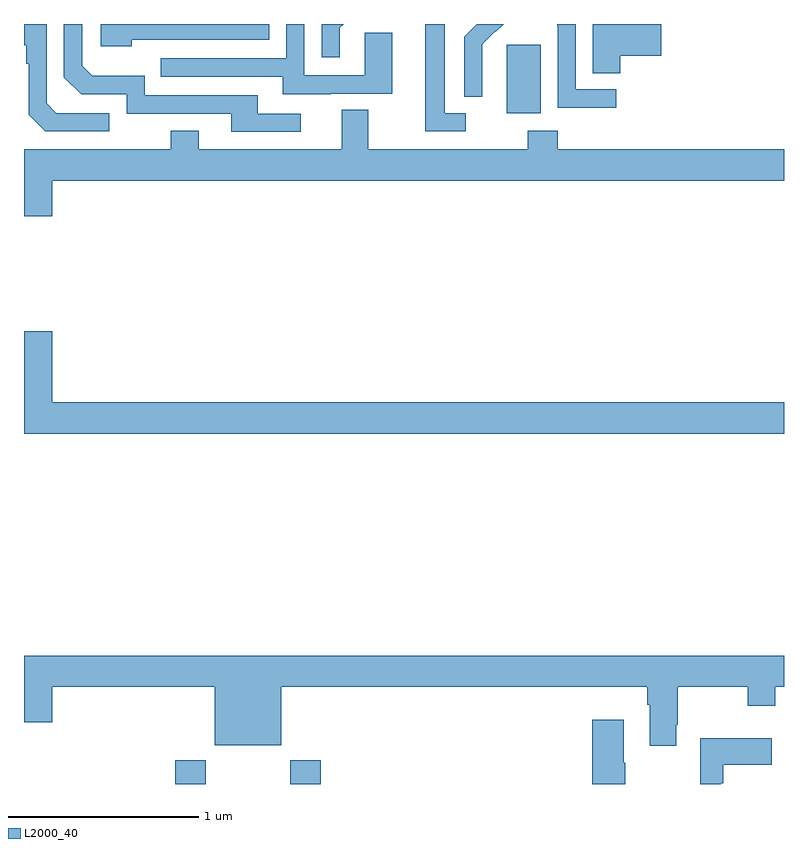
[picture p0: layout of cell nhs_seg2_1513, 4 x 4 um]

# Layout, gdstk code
import gdstk
lib = gdstk.Library(unit=1e-6, precision=1e-09)
def R(c, l, rs):  # rectangles x0, y0, x1, y1
    for r in rs: c.add(gdstk.rectangle(r[:2], r[2:], *l))
def P(c, l, *ps):  # polygons
    for p in ps: c.add(gdstk.Polygon(p, *l))
L2000_40 = (2000, 40)

nhs_seg2_1513 = lib.new_cell('nhs_seg2_1513')
R(nhs_seg2_1513, L2000_40, [(189.797,637.8,189.957,637.924), (190.402,637.8,190.562,637.924), (191.54,641.33,191.719,641.691)])
P(nhs_seg2_1513, L2000_40, [(192.137,641.633),(192.355,641.633),(192.355,641.8),(191.993,641.8),(191.993,641.542),(192.137,641.542)],
  [(190.615,641.433),(190.939,641.433),(190.939,641.753),(190.794,641.753),(190.794,641.529),(190.476,641.529),(190.476,641.8),(190.38,641.8),(190.38,641.619),(189.721,641.619),(189.721,641.523),(190.361,641.523),(190.361,641.429),(190.615,641.429)],
  [(189.448,641.331),(189.171,641.331),(189.12,641.382),(189.12,641.8),(189,641.8),(189,641.687),(189.012,641.687),(189.012,641.591),(189.024,641.591),(189.024,641.322),(189.111,641.235),(189.448,641.235)],
  [(191.326,641.331),(191.215,641.331),(191.215,641.8),(191.111,641.8),(191.111,641.235),(191.326,641.235)],
  [(190.663,641.781),(190.682,641.8),(190.566,641.8),(190.566,641.625),(190.663,641.625)],
  [(190.456,641.328),(190.231,641.328),(190.231,641.424),(189.636,641.424),(189.636,641.527),(189.359,641.527),(189.306,641.58),(189.306,641.8),(189.21,641.8),(189.21,641.52),(189.3,641.43),(189.54,641.43),(189.54,641.328),(190.091,641.328),(190.091,641.232),(190.456,641.232)],
  [(192.118,641.457),(191.904,641.457),(191.904,641.8),(191.806,641.8),(191.806,641.788),(191.808,641.788),(191.808,641.359),(192.118,641.359)],
  [(191.412,641.57),(191.411,641.57),(191.411,641.693),(191.481,641.763),(191.484,641.76),(191.524,641.8),(191.382,641.8),(191.316,641.734),(191.316,641.416),(191.412,641.416)],
  [(189.566,641.718),(190.29,641.718),(190.29,641.8),(189.405,641.8),(189.405,641.684),(189.566,641.684)],
  [(189.148,640.976),(193,640.976),(193,641.14),(191.81,641.14),(191.81,641.239),(191.65,641.239),(191.65,641.14),(190.813,641.14),(190.813,641.348),(190.673,641.348),(190.673,641.14),(189.919,641.14),(189.919,641.239),(189.772,641.239),(189.772,641.14),(189,641.14),(189,640.788),(189.148,640.788)],
  [(193,639.808),(189.148,639.808),(189.148,640.183),(189,640.183),(189,639.644),(193,639.644)],
  [(192.433,638.113),(192.441,638.113),(192.441,638.312),(192.808,638.312),(192.808,638.213),(192.954,638.213),(192.954,638.312),(193,638.312),(193,638.476),(189,638.476),(189,638.124),(189.148,638.124),(189.148,638.312),(190.004,638.312),(190.004,638.003),(190.354,638.003),(190.354,638.312),(192.281,638.312),(192.281,638.216),(192.293,638.216),(192.293,638.001),(192.433,638.001)],
  [(192.165,637.913),(192.157,637.913),(192.157,638.137),(191.99,638.137),(191.99,637.8),(192.165,637.8)],
  [(192.666,637.805),(192.679,637.805),(192.679,637.901),(192.935,637.901),(192.935,638.041),(192.558,638.041),(192.558,637.8),(192.666,637.8)])

lib.write_gds('nhs_seg2_1513.gds')
